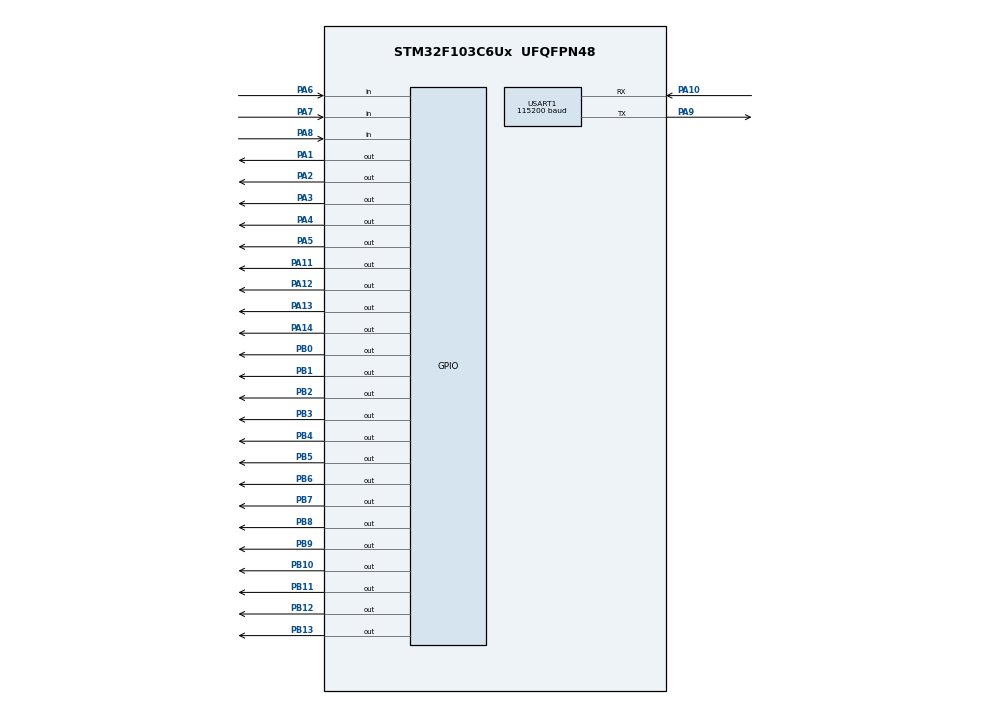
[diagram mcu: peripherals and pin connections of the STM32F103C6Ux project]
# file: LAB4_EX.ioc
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Mcu.Family=STM32F1
Mcu.Name=STM32F103C6Ux
Mcu.Package=UFQFPN48
NVIC.PriorityGroup=NVIC_PRIORITYGROUP_4
NVIC.TIM2_IRQn=true\:0\:0\:false\:false\:true\:true\:true
NVIC.USART1_IRQn=true\:0\:0\:false\:false\:true\:true\:true
PA1.Signal=GPIO_Output
PA10.Mode=Asynchronous
PA10.Signal=USART1_RX
PA11.Signal=GPIO_Output
PA12.Signal=GPIO_Output
PA13.Signal=GPIO_Output
PA14.Signal=GPIO_Output
PA2.Signal=GPIO_Output
PA3.Signal=GPIO_Output
PA4.Signal=GPIO_Output
PA5.Signal=GPIO_Output
PA6.Signal=GPIO_Input
PA7.Signal=GPIO_Input
PA8.Signal=GPIO_Input
PA9.Mode=Asynchronous
PA9.Signal=USART1_TX
PB0.Signal=GPIO_Output
PB1.Signal=GPIO_Output
PB10.Signal=GPIO_Output
PB11.Signal=GPIO_Output
PB12.Signal=GPIO_Output
PB13.Signal=GPIO_Output
PB2.Signal=GPIO_Output
PB3.Signal=GPIO_Output
PB4.Signal=GPIO_Output
PB5.Signal=GPIO_Output
PB6.Signal=GPIO_Output
PB7.Signal=GPIO_Output
PB8.Signal=GPIO_Output
PB9.Signal=GPIO_Output
ProjectManager.HeapSize=0x200
ProjectManager.StackSize=0x400
ProjectManager.TargetToolchain=STM32CubeIDE
RCC.APB1Freq_Value=8000000
RCC.APB2Freq_Value=8000000
TIM2.Period=9
TIM2.Prescaler=7999
USART1.BaudRate=115200
USART1.VirtualMode=VM_ASYNC
VP_SYS_VS_ND.Mode=No_Debug
VP_TIM2_VS_ClockSourceINT.Mode=Internal
board=custom

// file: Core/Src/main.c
/* USER CODE BEGIN Header */
/**
  ******************************************************************************
  * @file           : main.c
  * @brief          : Main program body
  ******************************************************************************
  * @attention
  *
  * <h2><center>&copy; Copyright (c) 2024 STMicroelectronics.
  * All rights reserved.</center></h2>
  *
  * This software component is licensed by ST under BSD 3-Clause license,
  * the "License"; You may not use this file except in compliance with the
  * License. You may obtain a copy of the License at:
  *                        opensource.org/licenses/BSD-3-Clause
  *
  ******************************************************************************
  */
/* USER CODE END Header */
#include "main.h"

/* USER CODE BEGIN Includes */
#include "scheduler.h"
#include "button.h"
#include "string.h"
#include "global.h"
#include "display7seg.h"
/* USER CODE END Includes */

TIM_HandleTypeDef htim2;

UART_HandleTypeDef huart1;

void SystemClock_Config(void);
static void MX_TIM2_Init(void);
static void MX_GPIO_Init(void);
static void MX_USART1_UART_Init(void);

/* USER CODE BEGIN 0 */
void toggleLedRed(){
	HAL_GPIO_TogglePin(GPIOA, GPIO_PIN_5);
}
//void toggleLedYellow(){
//	HAL_GPIO_TogglePin(LED_YELLOW_GPIO_Port, LED_YELLOW_Pin);
//}
//void toggleLedGreen(){
//	HAL_GPIO_TogglePin(LED_GREEN_GPIO_Port, LED_GREEN_Pin);
//}
//void toggleLedBlue(){
//	HAL_GPIO_TogglePin(LED_BLUE_GPIO_Port, LED_BLUE_Pin);
//}
//void toggleLedWhite(){
//	HAL_GPIO_TogglePin(LED_WHITE_GPIO_Port, LED_WHITE_Pin);
//}
//void toggleLedPurple(){
//	HAL_GPIO_TogglePin(LED_PURPLE_GPIO_Port, LED_PURPLE_Pin);
//}

// write to uart for debugging as well as print time stamp
void writeMessage(char * str){
	HAL_UART_Transmit(&huart1 , (void *)str, strlen(str), 10);
}
/* USER CODE END 0 */

int main(void)
{

  /* MCU Configuration--------------------------------------------------------*/

  /* Reset of all peripherals, Initializes the Flash interface and the Systick. */
  HAL_Init();

  /* Configure the system clock */
  SystemClock_Config();

  /* Initialize all configured peripherals */
  MX_TIM2_Init();
  MX_GPIO_Init();
  MX_USART1_UART_Init();
  /* USER CODE BEGIN 2 */
  HAL_TIM_Base_Start_IT(&htim2);
    schedulerInit();

    //schedulerAddTask(toggleLedRed, 50, 50); // 50 * 10 ms = 500 ms second period
//    schedulerAddTask(toggleLedYellow, 51, 100); // 1 second period task
//    schedulerAddTask(toggleLedGreen, 52, 150);	// 1.5 second period task
//    schedulerAddTask(toggleLedBlue, 53, 200); // 2 second per3.iod task
//    schedulerAddTask(toggleLedWhite, 54, 250); // 2.5 second period task

    	schedulerAddTask(fsm_manual, 50, 1);      // 50 * 10 ms = 500 ms period
        schedulerAddTask(fsm_setting, 50, 1);     // 1 second period task
        schedulerAddTask(fsm_automatic, 50, 1);   // 1.5 second period task
  /* USER CODE END 2 */

  /* Infinite loop */
  /* USER CODE BEGIN WHILE */
// co
  while (1)
  {
    /* USER CODE END WHILE */
  schedulerDispatcher();
      }
  /* USER CODE END 3 */
}

void SystemClock_Config(void)
{
  RCC_OscInitTypeDef RCC_OscInitStruct = {0};
  RCC_ClkInitTypeDef RCC_ClkInitStruct = {0};

  /** Initializes the RCC Oscillators according to the specified parameters
  * in the RCC_OscInitTypeDef structure.
  */
  RCC_OscInitStruct.OscillatorType = RCC_OSCILLATORTYPE_HSI;
  RCC_OscInitStruct.HSIState = RCC_HSI_ON;
  RCC_OscInitStruct.HSICalibrationValue = RCC_HSICALIBRATION_DEFAULT;
  RCC_OscInitStruct.PLL.PLLState = RCC_PLL_NONE;
  if (HAL_RCC_OscConfig(&RCC_OscInitStruct) != HAL_OK)
  {
    Error_Handler();
  }
  /** Initializes the CPU, AHB and APB buses clocks
  */
  RCC_ClkInitStruct.ClockType = RCC_CLOCKTYPE_HCLK|RCC_CLOCKTYPE_SYSCLK
                              |RCC_CLOCKTYPE_PCLK1|RCC_CLOCKTYPE_PCLK2;
  RCC_ClkInitStruct.SYSCLKSource = RCC_SYSCLKSOURCE_HSI;
  RCC_ClkInitStruct.AHBCLKDivider = RCC_SYSCLK_DIV1;
  RCC_ClkInitStruct.APB1CLKDivider = RCC_HCLK_DIV1;
  RCC_ClkInitStruct.APB2CLKDivider = RCC_HCLK_DIV1;

  if (HAL_RCC_ClockConfig(&RCC_ClkInitStruct, FLASH_LATENCY_0) != HAL_OK)
  {
    Error_Handler();
  }
}

static void MX_TIM2_Init(void)
{

  TIM_ClockConfigTypeDef sClockSourceConfig = {0};
  TIM_MasterConfigTypeDef sMasterConfig = {0};

  htim2.Instance = TIM2;
  htim2.Init.Prescaler = 7999;
  htim2.Init.CounterMode = TIM_COUNTERMODE_UP;
  htim2.Init.Period = 9;
  htim2.Init.ClockDivision = TIM_CLOCKDIVISION_DIV1;
  htim2.Init.AutoReloadPreload = TIM_AUTORELOAD_PRELOAD_DISABLE;
  if (HAL_TIM_Base_Init(&htim2) != HAL_OK)
  {
    Error_Handler();
  }
  sClockSourceConfig.ClockSource = TIM_CLOCKSOURCE_INTERNAL;
  if (HAL_TIM_ConfigClockSource(&htim2, &sClockSourceConfig) != HAL_OK)
  {
    Error_Handler();
  }
  sMasterConfig.MasterOutputTrigger = TIM_TRGO_RESET;
  sMasterConfig.MasterSlaveMode = TIM_MASTERSLAVEMODE_DISABLE;
  if (HAL_TIMEx_MasterConfigSynchronization(&htim2, &sMasterConfig) != HAL_OK)
  {
    Error_Handler();
  }

}

static void MX_USART1_UART_Init(void)
{

  huart1.Instance = USART1;
  huart1.Init.BaudRate = 115200;
  huart1.Init.WordLength = UART_WORDLENGTH_8B;
  huart1.Init.StopBits = UART_STOPBITS_1;
  huart1.Init.Parity = UART_PARITY_NONE;
  huart1.Init.Mode = UART_MODE_TX_RX;
  huart1.Init.HwFlowCtl = UART_HWCONTROL_NONE;
  huart1.Init.OverSampling = UART_OVERSAMPLING_16;
  if (HAL_UART_Init(&huart1) != HAL_OK)
  {
    Error_Handler();
  }

}

static void MX_GPIO_Init(void)
{
  GPIO_InitTypeDef GPIO_InitStruct = {0};

  /* GPIO Ports Clock Enable */
  __HAL_RCC_GPIOA_CLK_ENABLE();
  __HAL_RCC_GPIOB_CLK_ENABLE();

  /*Configure GPIO pin Output Level */
  HAL_GPIO_WritePin(GPIOA, GPIO_PIN_1|GPIO_PIN_2|GPIO_PIN_3|GPIO_PIN_4
                          |GPIO_PIN_5|GPIO_PIN_11|GPIO_PIN_12|GPIO_PIN_13
                          |GPIO_PIN_14, GPIO_PIN_RESET);

  /*Configure GPIO pin Output Level */
  HAL_GPIO_WritePin(GPIOB, GPIO_PIN_0|GPIO_PIN_1|GPIO_PIN_2|GPIO_PIN_10
                          |GPIO_PIN_11|GPIO_PIN_12|GPIO_PIN_13|GPIO_PIN_3
                          |GPIO_PIN_4|GPIO_PIN_5|GPIO_PIN_6|GPIO_PIN_7
                          |GPIO_PIN_8|GPIO_PIN_9, GPIO_PIN_RESET);

  /*Configure GPIO pins : PA1 PA2 PA3 PA4
                           PA5 PA11 PA12 PA13
                           PA14 */
  GPIO_InitStruct.Pin = GPIO_PIN_1|GPIO_PIN_2|GPIO_PIN_3|GPIO_PIN_4
                          |GPIO_PIN_5|GPIO_PIN_11|GPIO_PIN_12|GPIO_PIN_13
                          |GPIO_PIN_14;
  GPIO_InitStruct.Mode = GPIO_MODE_OUTPUT_PP;
  GPIO_InitStruct.Pull = GPIO_NOPULL;
  GPIO_InitStruct.Speed = GPIO_SPEED_FREQ_LOW;
  HAL_GPIO_Init(GPIOA, &GPIO_InitStruct);

  /*Configure GPIO pins : PA6 PA7 PA8 */
  GPIO_InitStruct.Pin = GPIO_PIN_6|GPIO_PIN_7|GPIO_PIN_8;
  GPIO_InitStruct.Mode = GPIO_MODE_INPUT;
  GPIO_InitStruct.Pull = GPIO_NOPULL;
  HAL_GPIO_Init(GPIOA, &GPIO_InitStruct);

  /*Configure GPIO pins : PB0 PB1 PB2 PB10
                           PB11 PB12 PB13 PB3
                           PB4 PB5 PB6 PB7
                           PB8 PB9 */
  GPIO_InitStruct.Pin = GPIO_PIN_0|GPIO_PIN_1|GPIO_PIN_2|GPIO_PIN_10
                          |GPIO_PIN_11|GPIO_PIN_12|GPIO_PIN_13|GPIO_PIN_3
                          |GPIO_PIN_4|GPIO_PIN_5|GPIO_PIN_6|GPIO_PIN_7
                          |GPIO_PIN_8|GPIO_PIN_9;
  GPIO_InitStruct.Mode = GPIO_MODE_OUTPUT_PP;
  GPIO_InitStruct.Pull = GPIO_NOPULL;
  GPIO_InitStruct.Speed = GPIO_SPEED_FREQ_LOW;
  HAL_GPIO_Init(GPIOB, &GPIO_InitStruct);

}

/* USER CODE BEGIN 4 */
void HAL_TIM_PeriodElapsedCallback(TIM_HandleTypeDef *htim){
	timerRun();
	schedulerUpdate();
	getKeyInput();
}

/* USER CODE END 4 */

void Error_Handler(void)
{
  __disable_irq();
  while (1)
  {
  }
}

/************************ (C) COPYRIGHT STMicroelectronics *****END OF FILE****/
